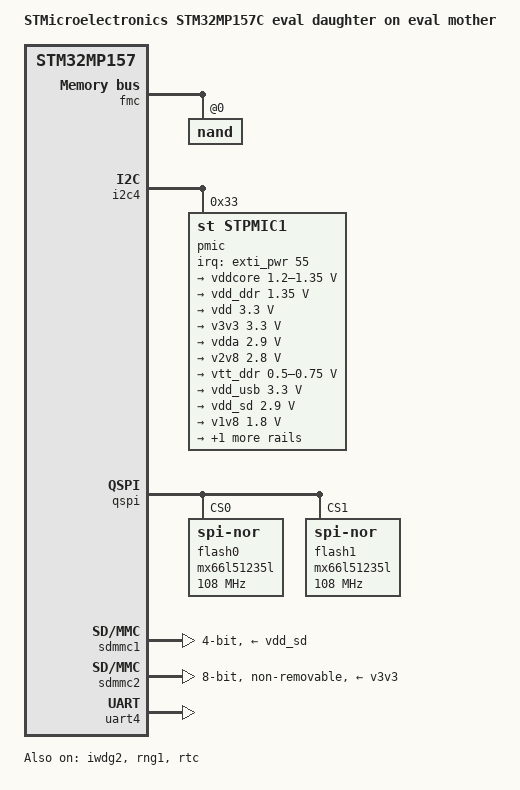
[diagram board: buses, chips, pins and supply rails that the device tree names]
// SPDX-License-Identifier: (GPL-2.0+ OR BSD-3-Clause)
/*
 * Copyright (C) STMicroelectronics 2017 - All Rights Reserved
 * Author: Ludovic Barre <ludovic.barre@st.com> for STMicroelectronics.
 */
/dts-v1/;

#include "stm32mp157c.dtsi"
#include "stm32mp157caa-pinctrl.dtsi"
#include <dt-bindings/clock/stm32mp1-clksrc.h>
#include "stm32mp15-mx.h"
#include "stm32mp157c-security.dtsi"

/* USER CODE BEGIN includes */
#include <dt-bindings/power/stm32mp1-power.h>
/* USER CODE END includes */

/ {
	model = "STMicroelectronics STM32MP157C eval daughter on eval mother";
	compatible = "st,stm32mp157c-ev1", "st,stm32mp157c-ed1", "st,stm32mp157";

	/* USER CODE BEGIN root */
	chosen {
		stdout-path = "serial0:115200n8";
	};

	aliases {
		serial0 = &uart4;
		serial1 = &usart3;
		gpio0 = &gpioa;
		gpio1 = &gpiob;
		gpio2 = &gpioc;
		gpio3 = &gpiod;
		gpio4 = &gpioe;
		gpio5 = &gpiof;
		gpio6 = &gpiog;
		gpio7 = &gpioh;
		gpio8 = &gpioi;
		gpio9 = &gpioj;
		gpio10 = &gpiok;
		gpio25 = &gpioz;
		i2c3 = &i2c4;
	};
	/* USER CODE END root */
};

&clk_hse {
	st,digbypass;
	/* USER CODE BEGIN clk_hse */
	/* USER CODE END clk_hse */
};

&fmc {
	status = "okay";
	/* USER CODE BEGIN fmc */
	#address-cells = <1>;
	#size-cells = <0>;

	nand: nand@0 {
		reg = <0>;
		nand-on-flash-bbt;
		#address-cells = <1>;
		#size-cells = <1>;
	};
	/* USER CODE END fmc */
};

&i2c4 {
	pinctrl-names = "default";
	pinctrl-0 = <&i2c4_pins_a>;
	status = "okay";
	/* USER CODE BEGIN i2c4 */
	i2c-scl-rising-time-ns = <185>;
	i2c-scl-falling-time-ns = <20>;

	pmic: stpmic@33 {
		compatible = "st,stpmic1";
		reg = <0x33>;
		interrupts-extended = <&exti_pwr 55 IRQ_TYPE_EDGE_FALLING>;
		interrupt-controller;
		#interrupt-cells = <2>;
		status = "okay";

		st,main-control-register = <0x04>;
		st,vin-control-register = <0xc0>;
		st,usb-control-register = <0x20>;

		regulators {
			compatible = "st,stpmic1-regulators";

			ldo1-supply = <&v3v3>;
			ldo2-supply = <&v3v3>;
			ldo3-supply = <&vdd_ddr>;
			ldo5-supply = <&v3v3>;
			ldo6-supply = <&v3v3>;

			vddcore: buck1 {
				regulator-name = "vddcore";
				regulator-min-microvolt = <1200000>;
				regulator-max-microvolt = <1350000>;
				regulator-always-on;
				regulator-initial-mode = <0>;
				regulator-over-current-protection;
				lp-stop {
					regulator-on-in-suspend;
					regulator-suspend-microvolt = <1200000>;
				};
				standby-ddr-sr {
					regulator-off-in-suspend;
				};
				standby-ddr-off {
					regulator-off-in-suspend;
				};
			};

			vdd_ddr: buck2 {
				regulator-name = "vdd_ddr";
				regulator-min-microvolt = <1350000>;
				regulator-max-microvolt = <1350000>;
				regulator-always-on;
				regulator-initial-mode = <0>;
				regulator-over-current-protection;
				lp-stop {
					regulator-suspend-microvolt = <1350000>;
					regulator-on-in-suspend;
				};
				standby-ddr-sr {
					regulator-suspend-microvolt = <1350000>;
					regulator-on-in-suspend;
				};
				standby-ddr-off {
					regulator-off-in-suspend;
				};
			};

			vdd: buck3 {
				regulator-name = "vdd";
				regulator-min-microvolt = <3300000>;
				regulator-max-microvolt = <3300000>;
				regulator-always-on;
				st,mask-reset;
				regulator-initial-mode = <0>;
				regulator-over-current-protection;
				lp-stop {
					regulator-suspend-microvolt = <3300000>;
					regulator-on-in-suspend;
				};
				standby-ddr-sr {
					regulator-suspend-microvolt = <3300000>;
					regulator-on-in-suspend;
				};
				standby-ddr-off {
					regulator-suspend-microvolt = <3300000>;
					regulator-on-in-suspend;
				};
			};

			v3v3: buck4 {
				regulator-name = "v3v3";
				regulator-min-microvolt = <3300000>;
				regulator-max-microvolt = <3300000>;
				regulator-always-on;
				regulator-over-current-protection;
				regulator-initial-mode = <0>;
				lp-stop {
					regulator-suspend-microvolt = <3300000>;
					regulator-on-in-suspend;
				};
				standby-ddr-sr {
					regulator-off-in-suspend;
				};
				standby-ddr-off {
					regulator-off-in-suspend;
				};
			};

			vdda: ldo1 {
				regulator-name = "vdda";
				regulator-min-microvolt = <2900000>;
				regulator-max-microvolt = <2900000>;
				standby-ddr-sr {
					regulator-off-in-suspend;
				};
				standby-ddr-off {
					regulator-off-in-suspend;
				};
			};

			v2v8: ldo2 {
				regulator-name = "v2v8";
				regulator-min-microvolt = <2800000>;
				regulator-max-microvolt = <2800000>;
				standby-ddr-sr {
					regulator-off-in-suspend;
				};
				standby-ddr-off {
					regulator-off-in-suspend;
				};
			};

			vtt_ddr: ldo3 {
				regulator-name = "vtt_ddr";
				regulator-min-microvolt = <500000>;
				regulator-max-microvolt = <750000>;
				regulator-always-on;
				regulator-over-current-protection;
				lp-stop {
					regulator-off-in-suspend;
				};
				standby-ddr-sr {
					regulator-off-in-suspend;
				};
				standby-ddr-off {
					regulator-off-in-suspend;
				};
			};

			vdd_usb: ldo4 {
				regulator-name = "vdd_usb";
				regulator-min-microvolt = <3300000>;
				regulator-max-microvolt = <3300000>;
				standby-ddr-sr {
					regulator-off-in-suspend;
				};
				standby-ddr-off {
					regulator-off-in-suspend;
				};
			};

			vdd_sd: ldo5 {
				regulator-name = "vdd_sd";
				regulator-min-microvolt = <2900000>;
				regulator-max-microvolt = <2900000>;
				regulator-boot-on;
				standby-ddr-sr {
					regulator-off-in-suspend;
				};
				standby-ddr-off {
					regulator-off-in-suspend;
				};
			};

			v1v8: ldo6 {
				regulator-name = "v1v8";
				regulator-min-microvolt = <1800000>;
				regulator-max-microvolt = <1800000>;
				standby-ddr-sr {
					regulator-off-in-suspend;
				};
				standby-ddr-off {
					regulator-off-in-suspend;
				};
			};

			vref_ddr: vref_ddr {
				regulator-name = "vref_ddr";
				regulator-always-on;
				regulator-over-current-protection;
				lp-stop {
					regulator-on-in-suspend;
				};
				standby-ddr-sr {
					regulator-on-in-suspend;
				};
				standby-ddr-off {
					regulator-off-in-suspend;
				};
			};
		};
	};
	/* USER CODE END i2c4 */
};

&iwdg2 {
	status = "okay";
	secure-status = "okay";
	/* USER CODE BEGIN iwdg2 */
	timeout-sec = <32>;
	/* USER CODE END iwdg2 */
};

&qspi {
	pinctrl-names = "default";
	pinctrl-0 = <&qspi_clk_pins_a &qspi_bk1_pins_a &qspi_bk2_pins_a>;
	status = "okay";
	/* USER CODE BEGIN qspi */
	reg = <0x58003000 0x1000>, <0x70000000 0x4000000>;
	#address-cells = <1>;
	#size-cells = <0>;

	flash0: mx66l51235l@0 {
		compatible = "jedec,spi-nor";
		reg = <0>;
		spi-rx-bus-width = <4>;
		spi-max-frequency = <108000000>;
		#address-cells = <1>;
		#size-cells = <1>;
	};

	flash1: mx66l51235l@1 {
		compatible = "jedec,spi-nor";
		reg = <1>;
		spi-rx-bus-width = <4>;
		spi-max-frequency = <108000000>;
		#address-cells = <1>;
		#size-cells = <1>;
	};
	/* USER CODE END qspi */
};

&rng1 {
	status = "okay";
	secure-status = "okay";
};

&rtc {
	status = "okay";
};

&sdmmc1 {
	pinctrl-names = "default";
	pinctrl-0 = <&sdmmc1_b4_pins_a &sdmmc1_dir_pins_a>;
	status = "okay";
	/* USER CODE BEGIN sdmmc1 */
	broken-cd;
	st,sig-dir;
	st,neg-edge;
	st,use-ckin;
	bus-width = <4>;
	vmmc-supply = <&vdd_sd>;
	sd-uhs-sdr12;
	sd-uhs-sdr25;
	sd-uhs-sdr50;
	sd-uhs-ddr50;
	sd-uhs-sdr104;
	/* USER CODE END sdmmc1 */
};

&sdmmc2 {
	pinctrl-names = "default";
	pinctrl-0 = <&sdmmc2_b4_pins_a &sdmmc2_d47_pins_a>;
	status = "okay";
	/* USER CODE BEGIN sdmmc2 */
	non-removable;
	no-sd;
	no-sdio;
	st,neg-edge;
	bus-width = <8>;
	vmmc-supply = <&v3v3>;
	vqmmc-supply = <&v3v3>;
	mmc-ddr-3_3v;
	/* USER CODE END sdmmc2 */
};

&uart4 {
	pinctrl-names = "default";
	pinctrl-0 = <&uart4_pins_a>;
	status = "okay";
};

/* CLOCK init */
&rcc {
	secure-status = "okay";
	/* USER CODE END rcc */
	st,hsi-cal;
	st,csi-cal;
	st,cal-sec = <60>;
	/* USER CODE END rcc */
};

/* Security specific */
&etzpc {
	st,decprot = <
		DECPROT(STM32MP1_ETZPC_USART1_ID, DECPROT_NS_RW, DECPROT_UNLOCK)
		DECPROT(STM32MP1_ETZPC_SPI6_ID, DECPROT_NS_RW, DECPROT_UNLOCK)
		DECPROT(STM32MP1_ETZPC_I2C4_ID, DECPROT_NS_RW, DECPROT_UNLOCK)
		DECPROT(STM32MP1_ETZPC_I2C6_ID, DECPROT_NS_RW, DECPROT_UNLOCK)
		DECPROT(STM32MP1_ETZPC_RNG1_ID, DECPROT_NS_RW, DECPROT_UNLOCK)
		DECPROT(STM32MP1_ETZPC_HASH1_ID, DECPROT_NS_RW, DECPROT_UNLOCK)
		DECPROT(STM32MP1_ETZPC_CRYP1_ID, DECPROT_NS_RW, DECPROT_UNLOCK)
	>;
};

&pwr {
	/* USER CODE BEGIN pwr */
	pwr-supply = <&vdd>;
	system_suspend_supported_soc_modes = <
		STM32_PM_CSLEEP_RUN
		STM32_PM_CSTOP_ALLOW_LP_STOP
		STM32_PM_CSTOP_ALLOW_STANDBY_DDR_SR
	>;
	system_off_soc_mode = <STM32_PM_CSTOP_ALLOW_STANDBY_DDR_OFF>;
	/* USER CODE END pwr */
};

&timers15 {
	secure-status = "okay";
	/* USER CODE BEGIN timers15 */
	st,hsi-cal-input = <7>;
	st,csi_cal-input = <8>;
	/* USER CODE END timers15 */
};

/* USER CODE BEGIN addons */
/* USER CODE END addons */
